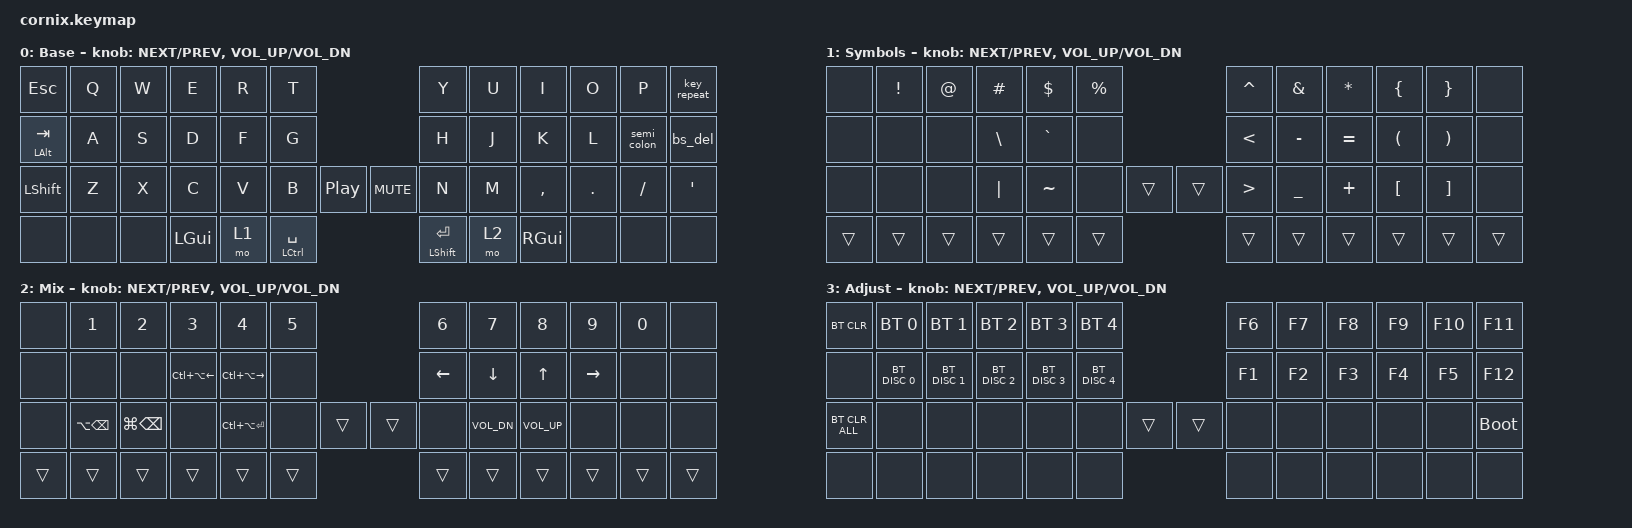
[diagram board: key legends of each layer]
/*
 * Copyright (c) 2020 The ZMK Contributors
 *
 * SPDX-License-Identifier: MIT
 */

#include "zmk-helpers/helper.h"
#include "includes/cornix54.h"
#include <behaviors.dtsi>
#include <dt-bindings/zmk/bt.h>
#include <dt-bindings/zmk/keys.h>

#define BASE   0
#define SYMBOL 1
#define MIX    2
#define ADJUST 3

/ {
    // Activate ADJUST layer by pressing raise and lower

    behaviors {
        // 親指 Ctrl/Space・Shift/Enter 用: 誤爆対策版 mod-tap
        tmt: thumb_mod_tap {
            compatible = "zmk,behavior-hold-tap";
            #binding-cells = <2>;
            bindings = <&kp>, <&kp>;

            flavor = "hold-preferred";
            tapping-term-ms = <200>;
            quick-tap-ms = <175>;            // 連打で Space/Enter リピート可
            require-prior-idle-ms = <125>;   // 直前に打鍵→tap確定（Space/Enter 暴発防止）
        };

        // 右小指 1 キーで Backspace / Shift+tap で Delete
        bs_del: backspace_delete {
            compatible = "zmk,behavior-mod-morph";
            #binding-cells = <0>;
            bindings = <&kp BSPC>, <&kp DEL>;
            mods = <(MOD_LSFT|MOD_RSFT)>;
        };

        // 左外側 Alt/Tab 用: 誤爆対策版 mod-tap（TAB 連打中の Alt 暴発防止）
        omt: outer_mod_tap {
            compatible = "zmk,behavior-hold-tap";
            #binding-cells = <2>;
            bindings = <&kp>, <&kp>;
            flavor = "balanced";
            tapping-term-ms = <200>;
            quick-tap-ms = <175>;
            require-prior-idle-ms = <150>;
        };

        // ; と : を入替: tap→: / Shift+tap→;
        semi_colon: semi_colon {
            compatible = "zmk,behavior-mod-morph";
            #binding-cells = <0>;
            bindings = <&kp COLON>, <&kp SEMI>;
            mods = <(MOD_LSFT|MOD_RSFT)>;
        };
    };

    conditional_layers {
        compatible = "zmk,conditional-layers";

        adjust_layer {
            if-layers = <2 1>;
            then-layer = <3>;
        };
    };

    keymap {
        compatible = "zmk,keymap";

        default_layer {
            display-name = "Base";

            // -----------------------------------------------------------------------------------------------------
            // |  ESC  |  Q  |  W  |  E  |  R  |  T  |                |  Y  |  U  |  I  |  O  |   P   | REPEAT  |
            // | TAB*  |  A  |  S  |  D  |  F  |  G  |                |  H  |  J  |  K  |  L  |  ;/:  | BSPC/DEL|
            // | SHIFT |  Z  |  X  |  C  |  V  |  B  |  ⏯  |  |  🔇 |  N  |  M  |  ,  |  .  |   /   |    '    |
            //                     |  GUI  | LOWER | CTRL/SPC |  | SHFT/ENT | RAISE |  GUI  |
            // TAB* = tap:TAB / hold:LALT,  ;/: = tap:: / shift:;
            // 英数/かなの切替は Karabiner 側（⌘単独押し: 左⌘=英数 / 右⌘=かな）で行う
            // エンコーダー 左: 回転=曲送り/曲戻し, 押込=⏯ 再生/一時停止
            // エンコーダー 右: 回転=音量+/-,      押込=🔇 ミュート

            bindings = <
&kp ESC       &kp Q  &kp W  &kp E          &kp R  &kp T                                  &kp Y           &kp U  &kp I      &kp O    &kp P         &key_repeat
&omt LALT TAB &kp A  &kp S  &kp D          &kp F  &kp G                                  &kp H           &kp J  &kp K      &kp L    &semi_colon   &bs_del
&kp LSHFT     &kp Z  &kp X  &kp C          &kp V  &kp B               &kp C_PP  &kp C_MUTE  &kp N           &kp M  &kp COMMA  &kp DOT  &kp FSLH      &kp SQT
&none         &none  &none  &kp LGUI        &mo 1  &tmt LCTRL SPACE                &tmt LSHFT RET  &mo 2  &kp RGUI        &none  &none   &none
            >;
            sensor-bindings = <&inc_dec_kp C_NEXT C_PREV &inc_dec_kp C_VOL_UP C_VOL_DN>;
        };

        Symbol_layer {
            display-name = "Symbols";

            // -----------------------------------------------------------------------------------------------------
            // |     |  !  |  @  |  #  |  $  |  %  |                |  ^  |  &  |  *  |  {  |  }  |     |
            // |     |     |     |  \  |  `  |     |                |  <  |  -  |  =  |  (  |  )  |     |
            // |     |     |     |  |  |  ~  |     |  ---  |  | --- |  >  |  _  |  +  |  [  |  ]  |     |
            //                     |     |       |          |  |          |       |     |
            // (all thumb keys = transparent)

            bindings = <
&none   &kp EXCL  &kp AT  &kp HASH  &kp DLLR   &kp PRCNT                  &kp CARET  &kp AMPS   &kp ASTRK    &kp LBRC  &kp RBRC  &none
&none   &none     &none   &kp BSLH  &kp GRAVE  &none                      &kp LT     &kp MINUS  &kp EQUAL    &kp LPAR  &kp RPAR  &none
&none   &none     &none   &kp PIPE  &kp TILDE  &none      &trans  &trans  &kp GT     &kp UNDER  &kp PLUS     &kp LBKT  &kp RBKT  &none
&trans  &trans    &trans  &trans    &trans     &trans                     &trans     &trans     &trans       &trans    &trans    &trans
            >;
            sensor-bindings = <&inc_dec_kp C_NEXT C_PREV &inc_dec_kp C_VOL_UP C_VOL_DN>;
        };

        Mix_layer {
            display-name = "Mix";

            // -----------------------------------------------------------------------------------------------------
            // |     |   1   |   2   |   3   |   4   |  5  |                |  6  |  7   |  8  |  9  |  0  |     |
            // |     |       |       | LHalf | RHalf |     |                | LFT | DWN  | UP  | RGT |     |     |
            // |     | DelWd | DelLn |       |  Max  |     |  ---  |  | --- |     | VOL- | VOL+|     |     |     |
            //                     |     |       |          |  |          |       |     |
            // DelWd = ⌥⌫, DelLn = ⌘⌫
            // LHalf/RHalf/Max = ⌃⌥←/→/⏎ (Raycast Window Management: Left/Right Half, Maximize)

            bindings = <
&none   &kp N1        &kp N2        &kp N3         &kp N4         &kp N5                     &kp N6        &kp N7        &kp N8        &kp N9     &kp N0     &none
&none   &none         &none         &kp LC(LA(LEFT))  &kp LC(LA(RIGHT))  &none            &kp LEFT      &kp DOWN      &kp UP        &kp RIGHT  &none      &none
&none   &kp LA(BSPC)  &kp LG(BSPC)  &none          &kp LC(LA(RET))  &none  &trans  &trans      &none         &kp C_VOL_DN  &kp C_VOL_UP  &none      &none      &none
&trans  &trans     &trans     &trans     &trans     &trans                          &trans        &trans        &trans     &trans     &trans     &trans
            >;
            sensor-bindings = <&inc_dec_kp C_NEXT C_PREV &inc_dec_kp C_VOL_UP C_VOL_DN>;
        };

        Adjust_layer {
            display-name = "Adjust";

            // -----------------------------------------------------------------------------------------------------
            // | BTCLR | BT0  | BT1  | BT2  | BT3  | BT4  |                | F6 | F7 | F8 | F9 | F10 | F11  |
            // |       | DISC0| DISC1| DISC2| DISC3| DISC4|                | F1 | F2 | F3 | F4 | F5  | F12  |
            // |BTCLRA |      |      |      |      |      |  ---  |  | --- |    |    |    |    |     | BOOT |
            //                     |     |       |          |  |          |       |     |
            // (all thumb keys unused)

            bindings = <
&bt BT_CLR      &bt BT_SEL 0   &bt BT_SEL 1   &bt BT_SEL 2   &bt BT_SEL 3   &bt BT_SEL 4                   &kp F6  &kp F7  &kp F8  &kp F9  &kp F10           &kp F11
&none           &bt BT_DISC 0  &bt BT_DISC 1  &bt BT_DISC 2  &bt BT_DISC 3  &bt BT_DISC 4                  &kp F1  &kp F2  &kp F3  &kp F4  &kp F5            &kp F12
&bt BT_CLR_ALL  &none          &none          &none          &none          &none          &trans  &trans  &none   &none   &none   &none   &none             &bootloader
&none           &none          &none          &none          &none          &none                          &none   &none   &none   &none   &none             &none
            >;
            sensor-bindings = <&inc_dec_kp C_NEXT C_PREV &inc_dec_kp C_VOL_UP C_VOL_DN>;
        };
    };
};
